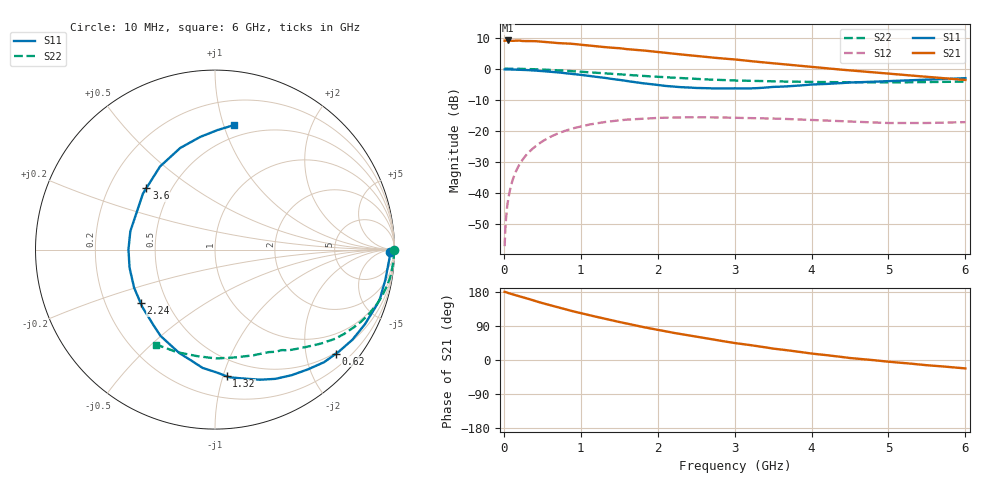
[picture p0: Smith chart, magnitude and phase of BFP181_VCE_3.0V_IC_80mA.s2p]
! Infineon Technologies  Discrete & RF Semiconductors
! BFP181
! VCE = 3.0 V,  IC =  80 mA
! Common Emitter S-Parameters:  Jan 2016
# GHz  S  MA  R  50
!  f  S11  S21  S12  S22
! GHz  MAG  ANG  MAG  ANG  MAG  ANG  MAG  ANG
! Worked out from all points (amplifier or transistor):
!   210 points, 10 MHz to 6 GHz, reference 50 ohm
!   highest |S21| = 9.1 dB at 50 MHz (marker M1)
!   |S21| within 3 dB of that: start of sweep to 1.719 GHz
!   unconditionally stable (mu >= 1): 3.224 GHz to end of sweep
!   at 185 MHz: K = 0.07, MSG = 20.3 dB, |S12| = -31.6 dB
!   at 1.52 GHz: K = 0.50, MSG = 11.6 dB, |S12| = -16.6 dB
!   at 6 GHz: K = 1.34, MAG = 3.3 dB, |S12| = -17.2 dB
!   S11 on the Smith chart (normalised r, x): 10 MHz: 55, -32; 620 MHz: 0.47, -2.62; 1.32 GHz: 0.36, -1.03; 2.24 GHz: 0.35, -0.29; 3.6 GHz: 0.36, +0.34; 6 GHz: 0.40, +1.09
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0.01  0.9731 -0.9  2.81 179.7  0.0014 84.2  0.9992 -0.2
0.025  0.9745 -1.7  2.815 179.1  0.0034 91.1  0.9967 -0.7
0.05  0.9728 -3.2  2.837 177.0  0.007 92.4  0.9965 -1.5
0.075  0.9691 -4.9  2.815 175.6  0.0105 86.4  0.9969 -2.4
0.115  0.9652 -7.6  2.798 173.3  0.0163 82.8  0.9965 -3.6
0.22  0.959 -14.9  2.804 166.8  0.0311 79.9  0.9916 -6.9
0.4  0.933 -26.5  2.774 156.0  0.055 72.0  0.9774 -12.4
0.62  0.8893 -40.7  2.637 143.6  0.0817 62.4  0.9509 -18.8
0.86  0.8287 -55.9  2.519 130.6  0.1059 52.8  0.9142 -25.1
1.02  0.7883 -66.2  2.409 122.7  0.1191 47.0  0.8875 -29.1
1.32  0.7086 -84.7  2.212 108.6  0.1389 37.1  0.8399 -35.6
1.5  0.6627 -96.0  2.133 100.3  0.1473 32.0  0.8098 -39.0
1.7  0.6096 -109.1  2.019 91.8  0.1539 26.8  0.7786 -42.7
2.02  0.5418 -129.5  1.835 78.9  0.1617 19.6  0.7376 -47.6
2.24  0.5103 -144.2  1.721 70.6  0.1639 15.0  0.7117 -51.2
2.78  0.4816 -179.0  1.479 51.9  0.1645 5.9  0.6624 -59.1
3.1  0.4799 162.4  1.363 42.2  0.1613 1.7  0.6401 -63.9
3.6  0.5133 138.1  1.188 27.8  0.1565 -3.2  0.6222 -71.9
4.1  0.5608 120.4  1.04 14.9  0.1481 -6.5  0.6088 -81.2
4.5  0.5984 108.9  0.937 5.2  0.1411 -8.2  0.6067 -89.4
5.1  0.6384 95.7  0.811 -6.2  0.1336 -6.4  0.6017 -102.1
6  0.7026 81.2  0.657 -22.2  0.138 -2.2  0.6216 -121.7
